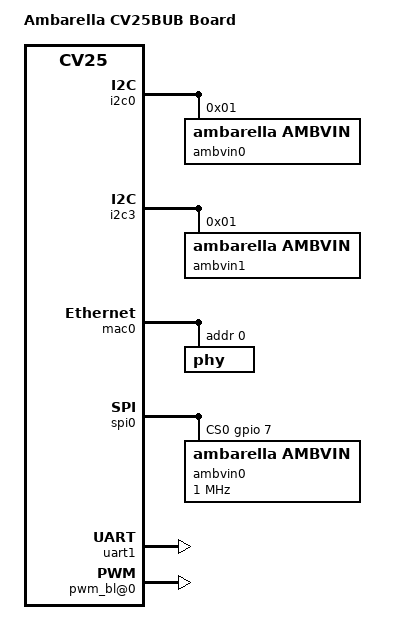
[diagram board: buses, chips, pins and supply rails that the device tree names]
/*
 * Copyright (C) 2013 Ambarella,Inc. - http://www.ambarella.com/
 * Author: Cao Rongrong <rrcao@ambarella.com>
 *
 * This program is free software; you can redistribute it and/or modify
 * it under the terms of the GNU General Public License version 2 as
 * published by the Free Software Foundation.
 */
/dts-v1/;

/include/ "ambarella-cv25.dtsi"
#include "config.h"
#include "bsp.h"

/ {
	model = "Ambarella CV25BUB Board";
	compatible = "ambarella,cv25bub", "ambarella,cv25";

	chosen {
#if defined(CONFIG_AMBARELLA_ROOTFS_CPIO)
		bootargs = "console=ttyS0";
#else
		bootargs = "console=ttyS0 ubi.mtd=lnx root=ubi0:rootfs rw rootfstype=ubifs init=/linuxrc";
#endif
	};

	reserved-memory {
		#address-cells = <1>;
		#size-cells = <1>;
		ranges;

		/* global autoconfigured region for contiguous allocations */
		/* size can be larged for big vout OSD framebuffer */
		linux,cma {
			compatible = "shared-dma-pool";
			reusable;
#ifdef CONFIG_AMBARELLA_IAV_DSP_MEM_RESERVED
			/* need larger size as more IAV/DSP buffers like ucode, img are put to it */
			size = <0x04800000>;
#else
			size = <0x03000000>;
#endif
			linux,cma-default;
		};

#ifdef CONFIG_AMBARELLA_IAV_DSP_MEM_CMA
		iav_reserved: iav@IDSP_RAM_START {
			compatible = "shared-dma-pool";
			reusable;
			reg = <IDSP_RAM_START (CV_RAM_START - IDSP_RAM_START - 0x400000)>;
		};

#ifndef CONFIG_AMBARELLA_CV_EVALUATE_SUPERDAG
		cavalry_reserved: cavalry@CV_RAM_START {
			compatible = "shared-dma-pool";
			reusable;
			reg = <(CV_RAM_START) (DRAM_SIZE - CV_RAM_START - 0x400000)>;
		};
#endif
#endif
	};

	n_apb@e4000000 {
		i2c0: i2c@e4008000 {
			status = "ok";

			ambvin0@01 {
				compatible = "ambarella,ambvin";
				reg = <0x01>;	/* fake address, will be overwritten in runtime */
			};
		};

		i2c3: i2c@e400b000 {
			status = "ok";

			ambvin1@01 {
				compatible = "ambarella,ambvin";
				reg = <0x01>;	/* fake address, will be overwritten in runtime */
			};
		};
	};

	n_ahb@e0000000 {
		sdmmc0: sdmmc0@e0004000 {
			pwr-gpios = <&gpio 81 0x1>;
			v18-gpios = <&gpio 105 0x1>;
#if defined(CONFIG_BOOT_MEDIA_EMMC)
			amb,fixed-cd = <1>;
#endif
		};

		sdmmc2: sdmmc2@e0016000 {
			status = "disabled";
		};

		mac0: ethernet@e000e000 {
			amb,tx-clk-invert;
			phy@0 {
				reg = <0>;
			};
		};

		spi0: spi@e0011000 {
			status = "ok";
			cs-gpios = <&gpio 7 0>;

			ambvin0@0 {
				compatible = "ambarella,ambvin";
				reg = <0>;
				spi-max-frequency = <1000000>;
				spi-cpha;
				spi-cpol;
			};
		};

		uart1: uart@e0017000 {
			status = "ok";
			/delete-property/ amb,msr-used;	/* use Modem Status Register */
			/delete-property/ amb,txdma-used;
			/delete-property/ amb,rxdma-used;
		};

		hdmi@e000b000 {
			amb,i2c-adapter = <2>;
		};
	};

	rct@ed080000 {
		usbphy: usbphy@ed080050 {
			/* high will trigger the ocp interrupt */
			amb,ocp-polarity = <0>;
			pinctrl-names = "default";
			pinctrl-0 = <&usb_host0_pins_d>;
		};
	};

	bogus_bus {
		pwm_bl@0 {
			compatible = "pwm-backlight";
			reg = <0>;
			pwms = <&pwm0 0 40000 0>;
			pinctrl-names = "default";
			pinctrl-0 = <&pwm0_pins_c>;
			brightness-levels = <0 4 8 16 32 64 128 255>;
			default-brightness-level = <7>;
		};

		dummycodec: codec@0 {
 			compatible = "ambarella,dummycodec";
 			reg = <0>;
			#sound-dai-cells = <0>;
		};
	};

	iav {
		/* node for vin controller */
		vinc0 {
			vinrst-gpios = <&gpio 84 0>;
			/* vinpwr-gpios = <>; */
		};

		/* node for hwtimer controller */
		hwtimer {
			compatible = "ambarella,hwtimer";
			interrupts = <0 25 0x1>;
			interrupt-names = "hwtimer";
		};

#ifdef CONFIG_AMBARELLA_IAV_DSP_MEM_CMA
		ambcma {
			compatible = "ambarella,cma";
			memory-region = <&iav_reserved>;
		};
#endif
	};
};
